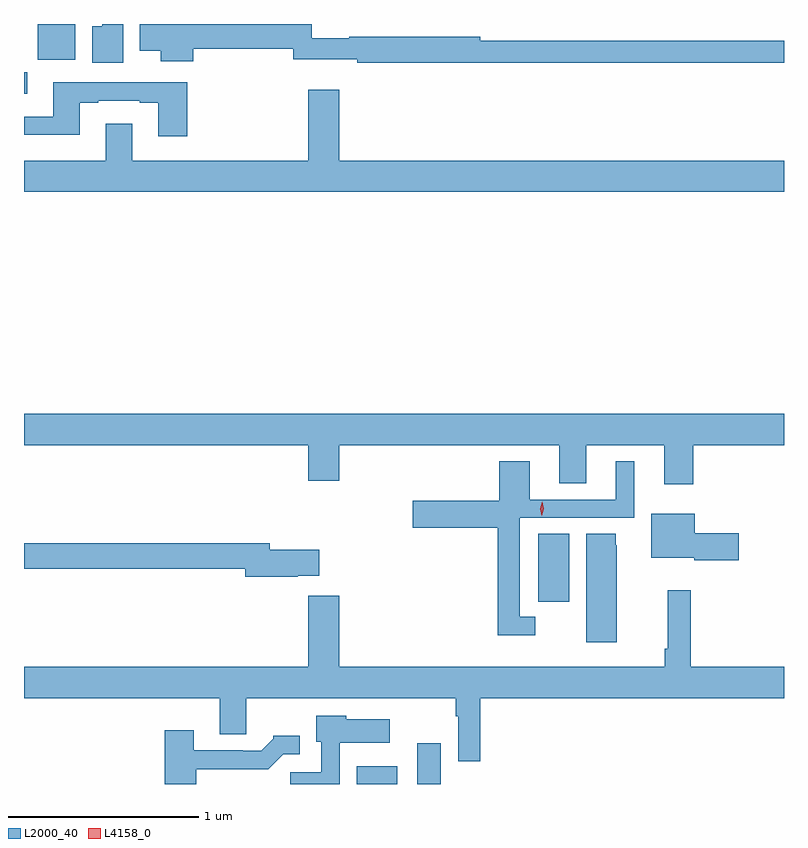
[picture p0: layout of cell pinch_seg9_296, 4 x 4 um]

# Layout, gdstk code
import gdstk
lib = gdstk.Library(unit=1e-6, precision=1e-09)
def R(c, l, rs):  # rectangles x0, y0, x1, y1
    for r in rs: c.add(gdstk.rectangle(r[:2], r[2:], *l))
def P(c, l, *ps):  # polygons
    for p in ps: c.add(gdstk.Polygon(p, *l))
L2000_40 = (2000, 40)
L4158_0 = (4158, 0)

pinch_seg9_296 = lib.new_cell('pinch_seg9_296')
R(pinch_seg9_296, L2000_40, [(429,1198.632,429.214,1198.725), (429.32,1198.632,429.442,1198.846), (429.956,1199.592,430.12,1199.948), (427.249,1202.265,427.267,1202.378), (427.322,1202.444,427.519,1202.632)])
P(pinch_seg9_296, L2000_40, [(431.249,1202.544),(429.65,1202.544),(429.65,1202.564),(428.96,1202.564),(428.96,1202.557),(428.763,1202.557),(428.763,1202.632),(427.859,1202.632),(427.859,1202.492),(427.97,1202.492),(427.97,1202.435),(428.141,1202.435),(428.141,1202.503),(428.667,1202.503),(428.667,1202.447),(429.004,1202.447),(429.004,1202.428),(431.249,1202.428)],
  [(427.771,1202.632),(427.661,1202.632),(427.661,1202.62),(427.607,1202.62),(427.607,1202.427),(427.771,1202.427)],
  [(428.108,1202.325),(427.403,1202.325),(427.403,1202.145),(427.249,1202.145),(427.249,1202.048),(427.543,1202.048),(427.543,1202.217),(427.639,1202.217),(427.639,1202.229),(427.859,1202.229),(427.859,1202.217),(427.955,1202.217),(427.955,1202.04),(428.108,1202.04)],
  [(431.249,1201.912),(428.908,1201.912),(428.908,1202.287),(428.744,1202.287),(428.744,1201.912),(427.819,1201.912),(427.819,1202.107),(427.679,1202.107),(427.679,1201.912),(427.249,1201.912),(427.249,1201.748),(431.249,1201.748)],
  [(430.772,1200.416),(431.249,1200.416),(431.249,1200.58),(427.249,1200.58),(427.249,1200.416),(428.744,1200.416),(428.744,1200.228),(428.908,1200.228),(428.908,1200.416),(430.067,1200.416),(430.067,1200.214),(430.207,1200.214),(430.207,1200.416),(430.619,1200.416),(430.619,1200.21),(430.772,1200.21)],
  [(429.94,1199.511),(429.858,1199.511),(429.858,1200.033),(430.462,1200.033),(430.462,1200.331),(430.364,1200.331),(430.364,1200.129),(429.91,1200.129),(429.91,1200.331),(429.749,1200.331),(429.749,1200.123),(429.294,1200.123),(429.294,1199.981),(429.742,1199.981),(429.742,1199.414),(429.94,1199.414)],
  [(431.011,1199.952),(430.78,1199.952),(430.78,1200.055),(430.55,1200.055),(430.55,1199.822),(430.776,1199.822),(430.776,1199.81),(431.011,1199.81)],
  [(430.369,1199.889),(430.363,1199.889),(430.363,1199.948),(430.208,1199.948),(430.208,1199.379),(430.369,1199.379)],
  [(428.69,1199.729),(428.803,1199.729),(428.803,1199.864),(428.542,1199.864),(428.542,1199.9),(427.249,1199.9),(427.249,1199.764),(428.414,1199.764),(428.414,1199.722),(428.69,1199.722)],
  [(429.65,1199.084),(431.249,1199.084),(431.249,1199.248),(430.757,1199.248),(430.757,1199.653),(430.636,1199.653),(430.636,1199.344),(430.621,1199.344),(430.621,1199.248),(428.908,1199.248),(428.908,1199.623),(428.744,1199.623),(428.744,1199.248),(427.249,1199.248),(427.249,1199.084),(428.279,1199.084),(428.279,1198.894),(428.419,1198.894),(428.419,1199.084),(429.522,1199.084),(429.522,1198.988),(429.534,1198.988),(429.534,1198.752),(429.65,1198.752)],
  [(428.91,1198.85),(429.175,1198.85),(429.175,1198.972),(428.946,1198.972),(428.946,1198.99),(428.786,1198.99),(428.786,1198.854),(428.814,1198.854),(428.814,1198.695),(428.651,1198.695),(428.651,1198.632),(428.91,1198.632)],
  [(428.156,1198.71),(428.535,1198.71),(428.613,1198.788),(428.701,1198.788),(428.701,1198.885),(428.562,1198.885),(428.562,1198.87),(428.498,1198.806),(428.399,1198.806),(428.399,1198.809),(428.143,1198.809),(428.143,1198.915),(427.991,1198.915),(427.991,1198.632),(428.156,1198.632)])
P(pinch_seg9_296, L4158_0, [(429.973,1200.045),(429.965,1200.082),(429.976,1200.117),(429.977,1200.117),(429.977,1200.117),(429.985,1200.081),(429.974,1200.045),(429.974,1200.045)])

lib.write_gds('pinch_seg9_296.gds')
